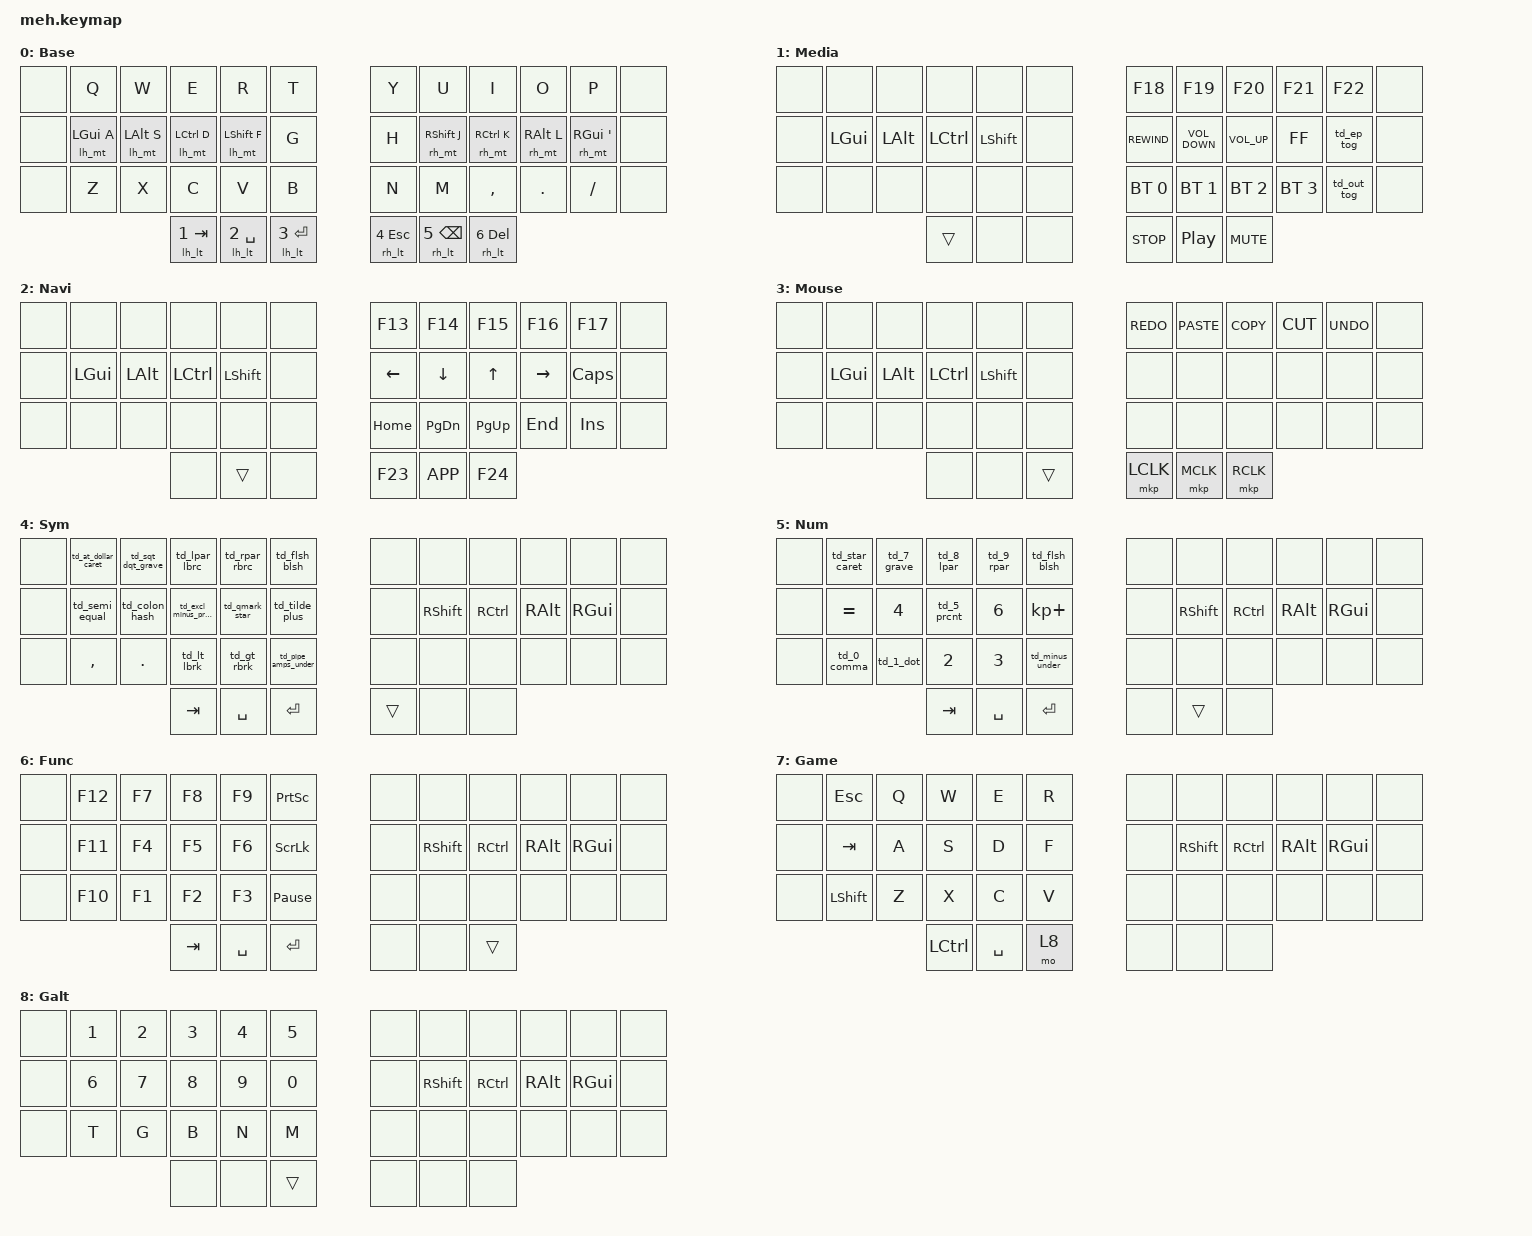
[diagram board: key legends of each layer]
/*                                      42 KEY MATRIX / LAYOUT MAPPING

  ╭────────────────────────┬────────────────────────╮ ╭─────────────────────────┬─────────────────────────╮
  │  0   1   2   3   4   5 │  6   7   8   9  10  11 │ │ LT5 LT4 LT3 LT2 LT1 LT0 │ RT0 RT1 RT2 RT3 RT4 RT5 │
  │ 12  13  14  15  16  17 │ 18  19  20  21  22  23 │ │ LM5 LM4 LM3 LM2 LM1 LM0 │ RM0 RM1 RM2 RM3 RM4 RM5 │
  │ 24  25  26  27  28  29 │ 30  31  32  33  34  35 │ │ LB5 LB4 LB3 LB2 LB1 LB0 │ RB0 RB1 RB2 RB3 RB4 RB5 │
  ╰───────────╮ 36  37  38 │ 39  40  41 ╭───────────╯ ╰───────────╮ LH2 LH1 LH0 │ RH0 RH1 RH2 ╭───────────╯
              ╰────────────┴────────────╯                         ╰─────────────┴─────────────╯             */


/* 
* Copyright (c) 2020 The ZMK Contributors
*
* SPDX-License-Identifier: MIT
*/

#include <behaviors.dtsi>
#include <dt-bindings/zmk/bt.h>
#include <dt-bindings/zmk/ext_power.h>
#include <dt-bindings/zmk/keys.h>
#include <dt-bindings/zmk/outputs.h>
#include <dt-bindings/zmk/mouse.h>

#define HOST_OS 1 // 0 for win, 1 for linux, 2 for mac

#include "../zmk-nodefree-config/helper.h"
#include "../zmk-nodefree-config/keypos_def/keypos_42keys.h"

#define KEYS_L 0 1 2 3 4 5 12 13 14 15 16 17 24 25 26 27 28 29
#define KEYS_R 6 7 8 9 10 11 18 19 20 21 22 23 30 31 32 33 34 35
#define KEYS_T 36 37 38 39 40 41

// are these broken?
// #define KEYS_L LT0 LT1 LT2 LT3 LT4 LM0 LM1 LM2 LM3 LM4 LB0 LB1 LB2 LB3 LB4  // left-hand keys
// #define KEYS_R RT0 RT1 RT2 RT3 RT4 RM0 RM1 RM2 RM3 RM4 RB0 RB1 RB2 RB3 RB4  // right-hand keys
// #define KEYS_T LH2 LH1 LH0 RH0 RH1 RH2                                      // thumb keys

#define XXX &none
#define ___ &trans

//UNICODE-keys
ZMK_UNICODE_SINGLE(euro_sign, N2, N0, A, C)  // €
ZMK_UNICODE_PAIR(fi_a,   N0, N0,  E, N4,   N0, N0,  C, N4) // äÄ
ZMK_UNICODE_PAIR(sv_o,   N0, N0,  E, N5,   N0, N0,  C, N5) // åÅ
ZMK_UNICODE_PAIR(fi_o,   N0, N0,  F, N6,   N0, N0,  D, N6) // öÖ

//Tap dances

ZMK_BEHAVIOR(td_out_tog, tap_dance, bindings = <&none>, <&none>, <&out OUT_TOG>;      tapping-term-ms = <300>;)     //triple smash to toggle usb output
ZMK_BEHAVIOR(td_ep_tog, tap_dance, bindings = <&none>, <&none>, <&ext_power EP_TOG>;  tapping-term-ms = <300>;) //triple smash to toggle power out

//Tap dances for Sym and Num-layers

ZMK_BEHAVIOR(td_at_dollar_caret,  tap_dance, bindings = <&kp AT>, <&kp DOLLAR>, <&kp CARET>;  tapping-term-ms = <300>;)
ZMK_BEHAVIOR(td_sqt_dqt_grave,    tap_dance, bindings = <&kp SQT>, <&kp DQT>, <&kp GRAVE>;    tapping-term-ms = <300>;)
ZMK_BEHAVIOR(td_lpar_lbrc,        tap_dance, bindings = <&kp LPAR>, <&kp LBRC>;               tapping-term-ms = <300>;)
ZMK_BEHAVIOR(td_rpar_rbrc,        tap_dance, bindings = <&kp RPAR>, <&kp RBRC>;               tapping-term-ms = <300>;)
ZMK_BEHAVIOR(td_flsh_blsh,        tap_dance, bindings = <&kp FSLH>, <&kp BACKSLASH>;          tapping-term-ms = <300>;)
ZMK_BEHAVIOR(td_excl_minus_prcnt, tap_dance, bindings = <&kp EXCL>, <&kp MINUS>, <&kp PRCNT>; tapping-term-ms = <300>;)
ZMK_BEHAVIOR(td_qmark_star,       tap_dance, bindings = <&kp QMARK>, <&kp STAR>;              tapping-term-ms = <300>;)
ZMK_BEHAVIOR(td_tilde_plus,       tap_dance, bindings = <&kp TILDE>, <&kp PLUS>;              tapping-term-ms = <300>;)
ZMK_BEHAVIOR(td_lt_lbrk,          tap_dance, bindings = <&kp LT>, <&kp LEFT_BRACKET>;         tapping-term-ms = <300>;)
ZMK_BEHAVIOR(td_gt_rbrk,          tap_dance, bindings = <&kp GT>, <&kp RIGHT_BRACKET>;        tapping-term-ms = <300>;)
ZMK_BEHAVIOR(td_pipe_amps_under,  tap_dance, bindings = <&kp PIPE>, <&kp AMPS>, <&kp UNDER>;  tapping-term-ms = <300>;)
ZMK_BEHAVIOR(td_star_caret,       tap_dance, bindings = <&kp STAR>, <&kp CARET>;              tapping-term-ms = <300>;)
ZMK_BEHAVIOR(td_7_grave,          tap_dance, bindings = <&kp N7>, <&kp GRAVE>;                tapping-term-ms = <300>;)
ZMK_BEHAVIOR(td_8_lpar,           tap_dance, bindings = <&kp N8>, <&kp LPAR>;                 tapping-term-ms = <300>;)
ZMK_BEHAVIOR(td_9_rpar,           tap_dance, bindings = <&kp N9>, <&kp RPAR>;                 tapping-term-ms = <300>;)
ZMK_BEHAVIOR(td_5_prcnt,          tap_dance, bindings = <&kp N5>, <&kp PRCNT>;                tapping-term-ms = <300>;)
ZMK_BEHAVIOR(td_0_comma,          tap_dance, bindings = <&kp N0>, <&kp COMMA>;                tapping-term-ms = <300>;)
ZMK_BEHAVIOR(td_1_dot,            tap_dance, bindings = <&kp N1>, <&kp DOT>;                  tapping-term-ms = <300>;)
ZMK_BEHAVIOR(td_minus_under,      tap_dance, bindings = <&kp MINUS>, <&kp UNDER>;             tapping-term-ms = <300>;)
ZMK_BEHAVIOR(td_semi_equal,       tap_dance, bindings = <&kp SEMI>, <&kp EQUAL>;              tapping-term-ms = <300>;)
ZMK_BEHAVIOR(td_colon_hash,       tap_dance, bindings = <&kp COLON>, <&kp HASH>;              tapping-term-ms = <300>;)

//Homerow mods and layer taps. positional for contralateral keys. retro-tap is disabled for now. hold-trigger-on-release enabled for HRMs
//thumbs do not trigger mod for layer taps.

#define QUICK_TAP_MS 175
#define PRIOR_IDLE_MS 150
#define TAPPING_TERM_MS 300

// flavor = "hold-preferred"; 
// swapped HRMs and LTs to balanced for debugging

#define MAKE_HRM(NAME, HOLD, TAP, TRIGGER_POS) \
    ZMK_BEHAVIOR(NAME, hold_tap, \
        flavor = "balanced"; \
        tapping-term-ms = <TAPPING_TERM_MS>; \
        quick-tap-ms = <QUICK_TAP_MS>; \
        require-prior-idle-ms = <PRIOR_IDLE_MS>; \
        bindings = <HOLD>, <TAP>; \
        hold-trigger-key-positions = <TRIGGER_POS>; \
        hold-trigger-on-release; \
    )

#define MAKE_LT(NAME, HOLD, TAP, TRIGGER_POS) \
    ZMK_BEHAVIOR(NAME, hold_tap, \
        flavor = "balanced"; \
        tapping-term-ms = <TAPPING_TERM_MS>; \
        quick-tap-ms = <QUICK_TAP_MS>; \
        require-prior-idle-ms = <PRIOR_IDLE_MS>; \
        bindings = <HOLD>, <TAP>; \
        hold-trigger-key-positions = <TRIGGER_POS>; \
    )

MAKE_HRM(lh_mt, &kp, &kp, KEYS_R KEYS_T)  // left-hand HRMs
MAKE_LT(lh_lt, &mo, &kp, KEYS_R)          // left-hand LTs
MAKE_HRM(rh_mt, &kp, &kp, KEYS_L KEYS_T)  // right-hand HRMs
MAKE_LT(rh_lt, &mo, &kp, KEYS_L)          // right-hand LTs


// ZMK_COMBO(name, binding, space delim keypos, layers[, timeout defaults to 30ms])

// Game layer switch swapped to Q+P
// Back to base switch swapped to Z+/

ZMK_COMBO(to_gme,  &to 7, LT4 RT4, 0, 200)
ZMK_COMBO(to_base, &to 0, LB4 RB4, 7, 200)


ZMK_COMBO(capsword, &caps_word, LM0 RM0, 0)

ZMK_COMBO(left_reset, &sys_reset, LH0 LH2 LT0, ALL)  //Reset and bootloader are enabled on all layers since 2 thumbs are down
ZMK_COMBO(right_reset, &sys_reset, RH0 RH2 RT0, ALL)
ZMK_COMBO(left_bootloader, &bootloader, LH0 LH2 LT4, ALL)
ZMK_COMBO(right_bootloader, &bootloader, RH0 RH2 RT4, ALL)

ZMK_COMBO(bt_disconnect_0,  &bt BT_DISC 0, LH2 LB0 RB0,1)
ZMK_COMBO(bt_disconnect_1,  &bt BT_DISC 0, LH2 LB0 RB1,1)
ZMK_COMBO(bt_disconnect_2,  &bt BT_DISC 0, LH2 LB0 RB2,1)
ZMK_COMBO(bt_disconnect_3,  &bt BT_DISC 0, LH2 LB0 RB3,1)
ZMK_COMBO(bt_clear,         &bt BT_CLR,    LH2 LB0 LB4,1)

/*
ZMK_LAYER(--layername--,
// ╭─────────────┬─────────────┬─────────────┬─────────────┬─────────────╮   ╭─────────────┬─────────────┬─────────────┬─────────────┬─────────────╮
// ├─────────────┼─────────────┼─────────────┼─────────────┼─────────────┤   ├─────────────┼─────────────┼─────────────┼─────────────┼─────────────┤
// ├─────────────┼─────────────┼─────────────┼─────────────┼─────────────┤   ├─────────────┼─────────────┼─────────────┼─────────────┼─────────────┤
// ╰─────────────┴─────────────┼─────────────┼─────────────┼─────────────┤   ├─────────────┼─────────────┼─────────────┼─────────────┴─────────────╯
//                             ╰─────────────┴─────────────┴─────────────╯   ╰─────────────┴─────────────┴─────────────╯
)
*/

/*
ZMK_LAYER(Dummy,
          &none         &none         &none         &none         &none                  &none         &none         &none         &none         &none        
          &none         &none         &none         &none         &none                  &none         &none         &none         &none         &none        
          &none         &none         &none         &none         &none                  &none         &none         &none         &none         &none
                                      &none         &none         &none                  &none         &none         &none        
)
*/


ZMK_LAYER(Base,
     // ╭───────────────┬───────────────┬───────────────┬───────────────┬───────────────╮   ╭───────────────┬───────────────┬───────────────┬───────────────┬───────────────╮
XXX       &kp Q           &kp W           &kp E           &kp R           &kp T               &kp Y              &kp U           &kp I            &kp O          &kp P       XXX
     // ├───────────────┼───────────────┼───────────────┼───────────────┼───────────────┤   ├───────────────┼───────────────┼───────────────┼───────────────┼───────────────┤
XXX       &lh_mt LGUI A   &lh_mt LALT S  &lh_mt LCTRL D  &lh_mt LSHFT F   &kp G               &kp H          &rh_mt RSHFT J  &rh_mt RCTRL K  &rh_mt RALT L   &rh_mt RGUI SQT XXX
     // ├───────────────┼───────────────┼───────────────┼───────────────┼───────────────┤   ├───────────────┼───────────────┼───────────────┼───────────────┼───────────────┤
XXX       &kp Z           &kp X           &kp C           &kp V           &kp B               &kp N           &kp M           &kp COMMA       &kp DOT         &kp FSLH       XXX
     // ╰───────────────┼───────────────┼───────────────┼───────────────┼───────────────┤   ├───────────────┼───────────────┼───────────────┼───────────────┼───────────────┤
                                         &lh_lt 1 TAB   &lh_lt 2 SPACE   &lh_lt 3 RET       &rh_lt 4 ESCAPE &rh_lt 5 BACKSPACE  &rh_lt 6 DEL
     //                                 ╰───────────────┴───────────────┴───────────────╯   ╰───────────────┴───────────────┴───────────────╯
)
 
ZMK_LAYER(Media,
     // ╭─────────────┬─────────────┬─────────────┬─────────────┬─────────────╮   ╭───────────────┬─────────────────┬─────────────────┬───────────────┬───────────────╮
XXX       &none         &none         &none         &none         &none             &kp F18         &kp F19           &kp F20           &kp F21         &kp F22        XXX
     // ├─────────────┼─────────────┼─────────────┼─────────────┼─────────────┤   ├───────────────┼─────────────────┼─────────────────┼───────────────┼───────────────┤
XXX       &kp LGUI      &kp LALT      &kp LCTRL     &kp LSHFT     &none             &kp C_REWIND   &kp C_VOLUME_DOWN  &kp C_VOLUME_UP   &kp C_FF        &td_ep_tog     XXX
     // ├─────────────┼─────────────┼─────────────┼─────────────┼─────────────┤   ├───────────────┼─────────────────┼─────────────────┼───────────────┼───────────────┤
XXX       &none         &none         &none         &none         &none             &bt BT_SEL 0    &bt BT_SEL 1      &bt BT_SEL 2      &bt BT_SEL 3    &td_out_tog    XXX
     // ╰─────────────┼─────────────┼─────────────┼─────────────┼─────────────┤   ├───────────────┼─────────────────┼─────────────────┼───────────────┼───────────────┤
                                      &trans        &none         &none             &kp C_STOP      &kp C_PLAY_PAUSE  &kp C_MUTE
     //                             ╰─────────────┴─────────────┴─────────────╯   ╰───────────────┴─────────────────┴─────────────────╯
)

ZMK_LAYER(Navi,
     // ╭─────────────┬─────────────┬─────────────┬─────────────┬─────────────╮   ╭─────────────┬─────────────┬─────────────┬─────────────┬─────────────╮
XXX       &none         &none         &none         &none         &none             &kp F13       &kp F14       &kp F15       &kp F16       &kp F17      XXX
     // ├─────────────┼─────────────┼─────────────┼─────────────┼─────────────┤   ├─────────────┼─────────────┼─────────────┼─────────────┼─────────────┤
XXX       &kp LGUI      &kp LALT      &kp LCTRL     &kp LSHFT     &none             &kp LEFT      &kp DOWN      &kp UP        &kp RIGHT     &kp CLCK     XXX
     // ├─────────────┼─────────────┼─────────────┼─────────────┼─────────────┤   ├─────────────┼─────────────┼─────────────┼─────────────┼─────────────┤
XXX       &none         &none         &none         &none         &none             &kp HOME      &kp PG_DN     &kp PG_UP     &kp END       &kp INS      XXX
     // ╰─────────────┼─────────────┼─────────────┼─────────────┼─────────────┤   ├─────────────┼─────────────┼─────────────┼─────────────┼─────────────┤
                                      &none         &trans        &none             &kp F23       &kp K_APP     &kp F24
     //                             ╰─────────────┴─────────────┴─────────────╯   ╰─────────────┴─────────────┴─────────────╯
)

/*
 Mouse layer is WIP, no mouse movement code yet.
 plan is to set up mouse movement on RM0-3 and either wheel or drag on RB0-3 and RClk,MClk,LClk on RH0-2
*/

ZMK_LAYER(Mouse,
     // ╭─────────────┬─────────────┬─────────────┬─────────────┬─────────────╮   ╭─────────────┬─────────────┬─────────────┬─────────────┬─────────────╮
XXX       &none         &none         &none         &none         &none             &kp K_REDO    &kp K_PASTE   &kp K_COPY    &kp K_CUT     &kp K_UNDO   XXX
     // ├─────────────┼─────────────┼─────────────┼─────────────┼─────────────┤   ├─────────────┼─────────────┼─────────────┼─────────────┼─────────────┤
XXX       &kp LGUI      &kp LALT      &kp LCTRL     &kp LSHFT     &none             &none         &none         &none         &none         &none        XXX
     // ├─────────────┼─────────────┼─────────────┼─────────────┼─────────────┤   ├─────────────┼─────────────┼─────────────┼─────────────┼─────────────┤
XXX       &none         &none         &none         &none         &none             &none         &none         &none         &none         &none        XXX
     // ╰─────────────┼─────────────┼─────────────┼─────────────┼─────────────┤   ├─────────────┼─────────────┼─────────────┼─────────────┼─────────────┤
                                      &none         &none         &trans            &mkp LCLK     &mkp MCLK     &mkp RCLK
     //                               &none         &none         &trans            &none         &none         &none
     //                             ╰─────────────┴─────────────┴─────────────╯   ╰─────────────┴─────────────┴─────────────╯
)



ZMK_LAYER(Sym,
     // ╭─────────────────────┬─────────────────────┬─────────────────────┬─────────────────────┬─────────────────────╮   ╭─────────────┬─────────────┬─────────────┬─────────────┬─────────────╮
XXX       &td_at_dollar_caret   &td_sqt_dqt_grave     &td_lpar_lbrc         &td_rpar_rbrc         &td_flsh_blsh              &none         &none         &none         &none         &none       XXX
     // ├─────────────────────┼─────────────────────┼─────────────────────┼─────────────────────┼─────────────────────┤   ├─────────────┼─────────────┼─────────────┼─────────────┼─────────────┤
XXX       &td_semi_equal        &td_colon_hash        &td_excl_minus_prcnt  &td_qmark_star        &td_tilde_plus             &none         &kp RSHFT     &kp RCTRL     &kp RALT      &kp RGUI    XXX
     // ├─────────────────────┼─────────────────────┼─────────────────────┼─────────────────────┼─────────────────────┤   ├─────────────┼─────────────┼─────────────┼─────────────┼─────────────┤
XXX       &kp COMMA             &kp DOT               &td_lt_lbrk           &td_gt_rbrk           &td_pipe_amps_under        &none         &none         &none         &none         &none       XXX
     // ╰─────────────────────┼─────────────────────┼─────────────────────┼─────────────────────┼─────────────────────┤   ├─────────────┼─────────────┼─────────────┼─────────────┼─────────────┤
                                                      &kp TAB               &kp SPACE             &kp RET                    &trans        &none         &none
     //                                             ╰─────────────────────┴─────────────────────┴─────────────────────╯   ╰─────────────┴─────────────┴─────────────╯
)

ZMK_LAYER(Num,
     // ╭─────────────┬─────────────┬─────────────┬─────────────┬─────────────╮   ╭─────────────┬─────────────┬─────────────┬─────────────┬─────────────╮
XXX      &td_star_caret &td_7_grave  &td_8_lpar    &td_9_rpar    &td_flsh_blsh      &none         &none         &none         &none         &none        XXX
     // ├─────────────┼─────────────┼─────────────┼─────────────┼─────────────┤   ├─────────────┼─────────────┼─────────────┼─────────────┼─────────────┤
XXX       &kp EQUAL     &kp N4        &td_5_prcnt   &kp N6        &kp KP_PLUS       &none         &kp RSHFT     &kp RCTRL     &kp RALT      &kp RGUI     XXX
     // ├─────────────┼─────────────┼─────────────┼─────────────┼─────────────┤   ├─────────────┼─────────────┼─────────────┼─────────────┼─────────────┤
XXX       &td_0_comma   &td_1_dot     &kp N2        &kp N3        &td_minus_under   &none         &none         &none         &none         &none        XXX
     // ╰─────────────┼─────────────┼─────────────┼─────────────┼─────────────┤   ├─────────────┼─────────────┼─────────────┼─────────────┼─────────────┤
                                      &kp TAB       &kp SPACE     &kp RET           &none         &trans        &none
     //                             ╰─────────────┴─────────────┴─────────────╯   ╰─────────────┴─────────────┴─────────────╯
)

ZMK_LAYER(Func,
     // ╭─────────────┬─────────────┬─────────────┬─────────────┬─────────────╮   ╭─────────────┬─────────────┬─────────────┬─────────────┬─────────────╮
XXX       &kp F12       &kp F7        &kp F8        &kp F9        &kp PSCRN         &none         &none         &none         &none         &none        XXX
     // ├─────────────┼─────────────┼─────────────┼─────────────┼─────────────┤   ├─────────────┼─────────────┼─────────────┼─────────────┼─────────────┤
XXX       &kp F11       &kp F4        &kp F5        &kp F6        &kp SCROLLLOCK    &none         &kp RSHFT     &kp RCTRL     &kp RALT      &kp RGUI     XXX
     // ├─────────────┼─────────────┼─────────────┼─────────────┼─────────────┤   ├─────────────┼─────────────┼─────────────┼─────────────┼─────────────┤
XXX       &kp F10       &kp F1        &kp F2        &kp F3        &kp PAUSE_BREAK   &none         &none         &none         &none         &none        XXX
     // ╰─────────────┼─────────────┼─────────────┼─────────────┼─────────────┤   ├─────────────┼─────────────┼─────────────┼─────────────┼─────────────┤
                                      &kp TAB       &kp SPACE     &kp RET           &none         &none         &trans
     //                             ╰─────────────┴─────────────┴─────────────╯   ╰─────────────┴─────────────┴─────────────╯
)

ZMK_LAYER(Game,
     // ╭─────────────┬─────────────┬─────────────┬─────────────┬─────────────╮   ╭─────────────┬─────────────┬─────────────┬─────────────┬─────────────╮
XXX       &kp ESC       &kp Q         &kp W         &kp E         &kp R             &none         &none         &none         &none         &none        XXX
     // ├─────────────┼─────────────┼─────────────┼─────────────┼─────────────┤   ├─────────────┼─────────────┼─────────────┼─────────────┼─────────────┤
XXX       &kp TAB       &kp A         &kp S         &kp D         &kp F             &none         &kp RSHFT     &kp RCTRL     &kp RALT      &kp RGUI     XXX
     // ├─────────────┼─────────────┼─────────────┼─────────────┼─────────────┤   ├─────────────┼─────────────┼─────────────┼─────────────┼─────────────┤
XXX       &kp LSHFT     &kp Z         &kp X         &kp C         &kp V             &none         &none         &none         &none         &none        XXX
     // ╰─────────────┼─────────────┼─────────────┼─────────────┼─────────────┤   ├─────────────┼─────────────┼─────────────┼─────────────┼─────────────┤
                                      &kp LCTRL     &kp SPACE     &mo 8             &none         &none         &none
     //                             ╰─────────────┴─────────────┴─────────────╯   ╰─────────────┴─────────────┴─────────────╯
)

ZMK_LAYER(Galt,
     // ╭─────────────┬─────────────┬─────────────┬─────────────┬─────────────╮   ╭─────────────┬─────────────┬─────────────┬─────────────┬─────────────╮
XXX       &kp N1        &kp N2        &kp N3        &kp N4        &kp N5            &none         &none         &none         &none         &none        XXX
     // ├─────────────┼─────────────┼─────────────┼─────────────┼─────────────┤   ├─────────────┼─────────────┼─────────────┼─────────────┼─────────────┤
XXX       &kp N6        &kp N7        &kp N8        &kp N9        &kp N0            &none         &kp RSHFT     &kp RCTRL     &kp RALT      &kp RGUI     XXX
     // ├─────────────┼─────────────┼─────────────┼─────────────┼─────────────┤   ├─────────────┼─────────────┼─────────────┼─────────────┼─────────────┤
XXX       &kp T         &kp G         &kp B         &kp N         &kp M             &none         &none         &none         &none         &none        XXX
     // ╰─────────────┼─────────────┼─────────────┼─────────────┼─────────────┤   ├─────────────┼─────────────┼─────────────┼─────────────┼─────────────┤
                                       &none         &none        &trans            &none         &none         &none
     //                             ╰─────────────┴─────────────┴─────────────╯   ╰─────────────┴─────────────┴─────────────╯
)
/* Vim: set ft=c: */
